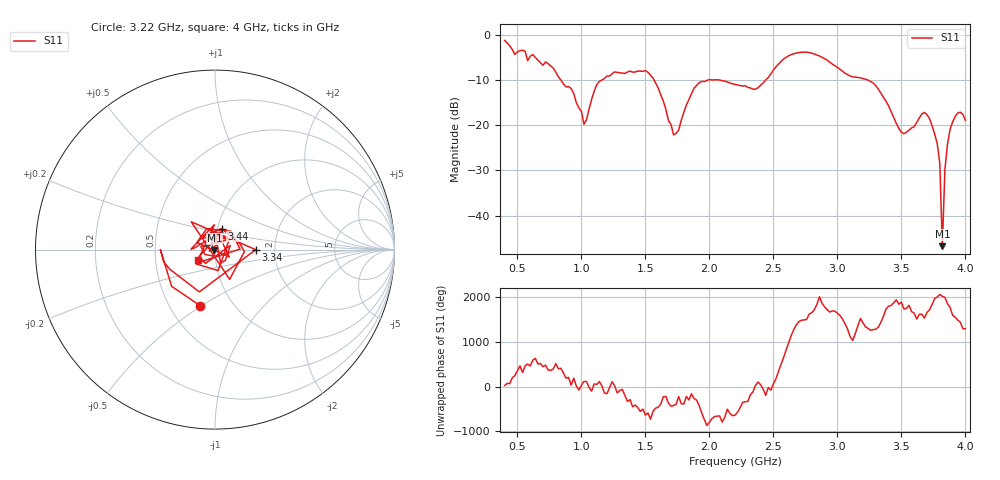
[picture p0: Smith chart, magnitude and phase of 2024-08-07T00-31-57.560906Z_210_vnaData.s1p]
!Created with skrf (http://scikit-rf.org).
# Hz S RI R 50.0
!freq ReS11 ImS11
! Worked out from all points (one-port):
!   181 points, 400 MHz to 4 GHz, reference 50 ohm
!   lowest |S11| = -46.8 dB at 3.82 GHz (marker M1), VSWR 1.01, Z = 49.6 - j0.289 ohm
!   |S11| at or under -10 dB: 1.568 GHz to 1.987 GHz (418.6 MHz wide, 23.5 % of centre); 2.085 GHz to 2.439 GHz (353.9 MHz wide, 15.6 % of centre); 3.24 GHz to end of sweep (the widest 3 of 4)
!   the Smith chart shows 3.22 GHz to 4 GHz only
!   S11 on the Smith chart (normalised r, x): 3.22 GHz: 0.71, -0.49; 3.34 GHz: 1.59, -0.00; 3.44 GHz: 1.05, +0.25; 4 GHz: 0.82, -0.10
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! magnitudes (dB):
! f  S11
! 400 MHz  -1.2
! 740 MHz  -6.3
! 860 MHz  -10.9
! 940 MHz  -13.0
! 1.02 GHz  -19.8
! 1.12 GHz  -11.0
! 1.3 GHz  -8.4
! 1.52 GHz  -8.3
! 1.6 GHz  -11.8
! 1.72 GHz  -22.1
! 1.76 GHz  -21.1
! 1.92 GHz  -10.6
! 2.2 GHz  -10.9
! 2.36 GHz  -12.0
! 2.66 GHz  -4.1
! 3.1 GHz  -9.1
! 3.22 GHz  -9.8
! 3.34 GHz  -12.9
! 3.44 GHz  -18.2
! 3.56 GHz  -21.1
! 3.68 GHz  -17.2
! 3.76 GHz  -21.9
! 3.8 GHz  -28.5
! 3.82 GHz  -46.8
! 3.84 GHz  -29.8
! 3.88 GHz  -20.9
! 3.94 GHz  -17.3
! 4 GHz  -18.9
